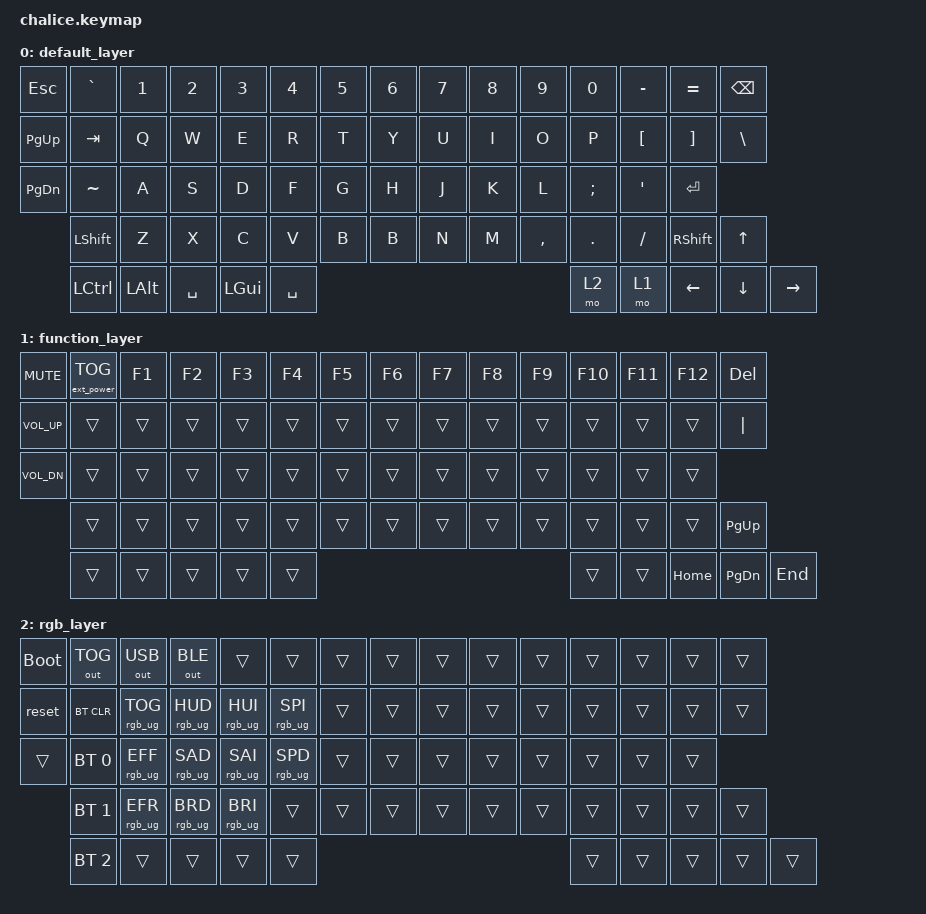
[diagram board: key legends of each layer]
/*
 * Copyright (c) 2020 The ZMK Contributors
 * SPDX-License-Identifier: MIT
 */

#include <behaviors.dtsi>
#include <dt-bindings/zmk/keys.h>
#include <dt-bindings/zmk/bt.h>
#include <dt-bindings/zmk/rgb.h>
#include <dt-bindings/zmk/outputs.h>
#include <dt-bindings/zmk/ext_power.h>

/ {
    keymap {
        compatible = "zmk,keymap";
        
        default_layer {
            bindings = <
    &kp ESC     &kp GRAVE   &kp N1       &kp N2       &kp N3       &kp N4       &kp N5       &kp N6       &kp N7       &kp N8       &kp N9       &kp N0       &kp MINUS    &kp EQUAL    &kp BSPC
    &kp PG_UP   &kp TAB     &kp Q        &kp W        &kp E        &kp R        &kp T        &kp Y        &kp U        &kp I        &kp O        &kp P        &kp LBKT     &kp RBKT     &kp BSLH
    &kp PG_DN   &kp TILDE   &kp A        &kp S        &kp D        &kp F        &kp G        &kp H        &kp J        &kp K        &kp L        &kp SEMI     &kp SQT      &kp ENTER                    
                &kp LSHFT   &kp Z        &kp X        &kp C        &kp V        &kp B        &kp B        &kp N        &kp M        &kp COMMA    &kp DOT      &kp SLASH    &kp RSHFT    &kp UP
                &kp LCTRL                &kp LALT                  &kp SPACE    &kp LGUI                  &kp SPACE                 &mo 2                     &mo 1        &kp LEFT     &kp DOWN     &kp RIGHT 
            >;
        };


        function_layer {
            bindings = <
    &kp C_MUTE   &ext_power EP_TOG        &kp F1       &kp F2       &kp F3       &kp F4       &kp F5       &kp F6       &kp F7       &kp F8       &kp F9       &kp F10      &kp F11      &kp F12      &kp DEL
    &kp C_VOL_UP &trans                   &trans       &trans       &trans       &trans       &trans       &trans       &trans       &trans       &trans       &trans       &trans       &trans       &kp PIPE
    &kp C_VOL_DN &trans                   &trans       &trans       &trans       &trans       &trans       &trans       &trans       &trans       &trans       &trans       &trans       &trans    
                 &trans                   &trans       &trans       &trans       &trans       &trans       &trans       &trans       &trans       &trans       &trans       &trans       &trans       &kp PG_UP
                 &trans                                &trans                    &trans       &trans                    &trans                    &trans                    &trans       &kp HOME     &kp PG_DN    &kp END 
            >;
        };

        rgb_layer {
            bindings = <
    &bootloader  &out OUT_TOG   &out OUT_USB     &out OUT_BLE    &trans          &trans          &trans       &trans       &trans       &trans       &trans       &trans       &trans       &trans       &trans
    &reset       &bt BT_CLR     &rgb_ug RGB_TOG  &rgb_ug RGB_HUD &rgb_ug RGB_HUI &rgb_ug RGB_SPI &trans       &trans       &trans       &trans       &trans       &trans       &trans       &trans       &trans
    &trans       &bt BT_SEL 0   &rgb_ug RGB_EFF  &rgb_ug RGB_SAD &rgb_ug RGB_SAI &rgb_ug RGB_SPD &trans       &trans       &trans       &trans       &trans       &trans       &trans       &trans 
                 &bt BT_SEL 1   &rgb_ug RGB_EFR  &rgb_ug RGB_BRD &rgb_ug RGB_BRI &trans          &trans       &trans       &trans       &trans       &trans       &trans       &trans       &trans       &trans       
                 &bt BT_SEL 2                    &trans                          &trans          &trans                    &trans                    &trans                    &trans       &trans       &trans       &trans       
            >;
        };
    };
};

